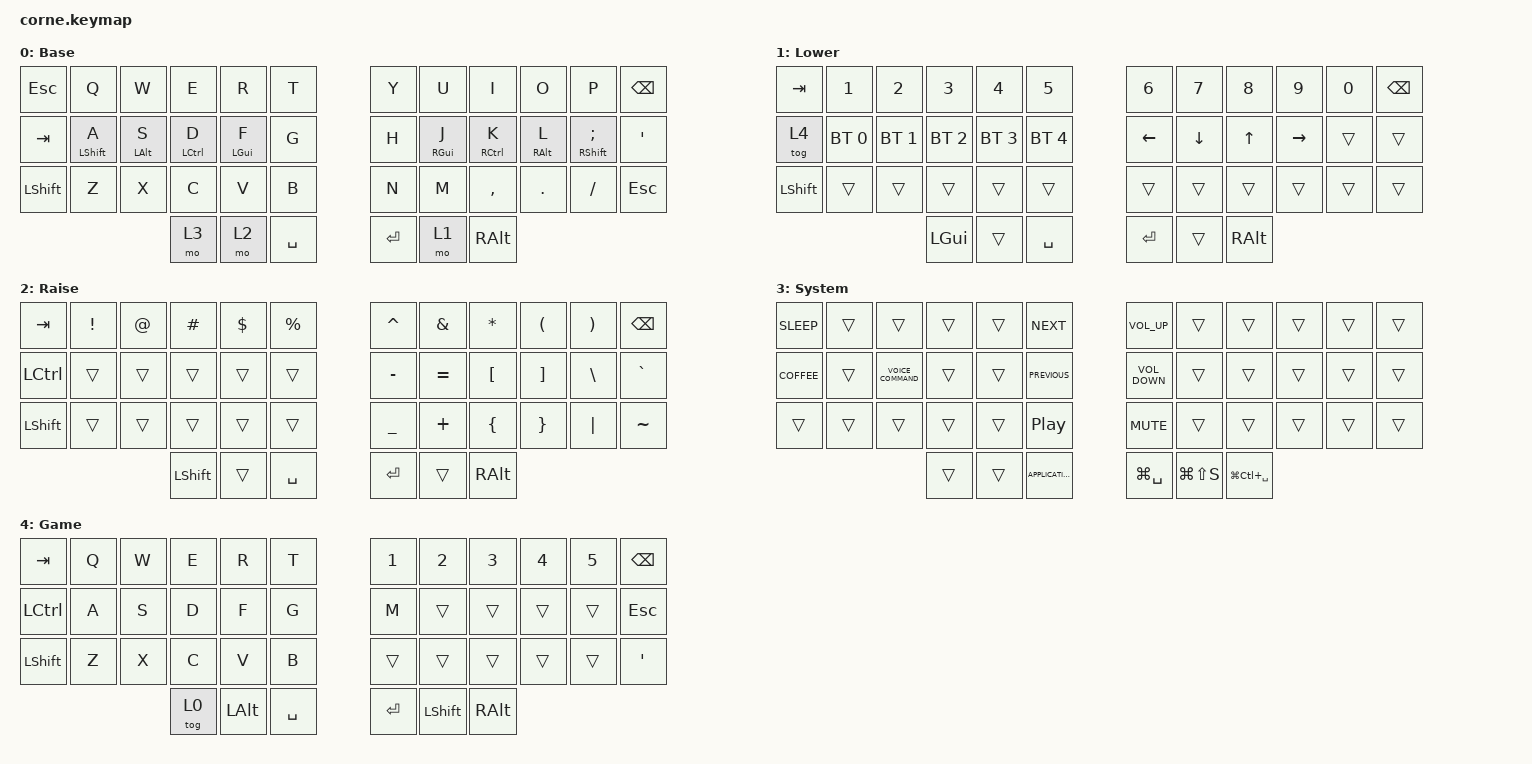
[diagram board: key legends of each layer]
/*
 * Copyright (c) 2020 The ZMK Contributors
 *
 * SPDX-License-Identifier: MIT
 */

#include <behaviors.dtsi>
#include <dt-bindings/zmk/bt.h>
#include <dt-bindings/zmk/keys.h>

/ {
    behaviors {
        hml: homewrow_mods_left {
            compatible = "zmk,behavior-hold-tap";
            label = "HOMEROW_MODS_LEFT_HAND";
            bindings = <&kp>, <&kp>;

            #binding-cells = <2>;
            tapping-term-ms = <200>;
            hold-trigger-key-positions = <6 7 8 9 10 11 18 19 20 21 22 23 30 31 32 33 34 35 39 40 41>;
        };

        hmr: homewrow_mods_right {
            compatible = "zmk,behavior-hold-tap";
            label = "HOMEROW_MODS_RIGHT_HAND";
            bindings = <&kp>, <&kp>;

            #binding-cells = <2>;
            tapping-term-ms = <200>;
            hold-trigger-key-positions = <0 1 2 3 4 5 12 13 14 15 16 17 24 25 26 27 28 29 36 37 38>;
        };
    };

    keymap {
        compatible = "zmk,keymap";

        default_layer {
            // -----------------------------------------------------------------------------------------
            // |  TAB |  Q  |  W  |  E  |  R  |  T  |   |  Y  |  U   |  I  |  O  |  P  | BSPC |
            // | CTRL |  A  |  S  |  D  |  F  |  G  |   |  H  |  J   |  K  |  L  |  ;  |  '   |
            // | SHFT |  Z  |  X  |  C  |  V  |  B  |   |  N  |  M   |  ,  |  .  |  /  | ESC  |
            //                    | GUI | LWR | SPC |   | ENT | RSE  | ALT |

            bindings = <
&kp ESC    &kp Q              &kp W            &kp E                &kp R            &kp T        &kp Y    &kp U        &kp I                 &kp O             &kp P                  &kp BSPC
&kp TAB    &hml LEFT_SHIFT A  &hml LEFT_ALT S  &hml LEFT_CONTROL D  &hml LEFT_GUI F  &kp G        &kp H    &hmr RGUI J  &hmr RIGHT_CONTROL K  &hmr RIGHT_ALT L  &hmr RIGHT_SHIFT SEMI  &kp SQT
&kp LSHFT  &kp Z              &kp X            &kp C                &kp V            &kp B        &kp N    &kp M        &kp COMMA             &kp DOT           &kp FSLH               &kp ESC
                                               &mo 3                &mo 2            &kp SPACE    &kp RET  &mo 1        &kp RALT
            >;

            label = "Base";
        };

        lower_layer {
            // -----------------------------------------------------------------------------------------
            // |  TAB |  1  |  2  |  3  |  4  |  5  |   |  6  |  7  |  8  |  9  |  0  | BSPC |
            // | GAME | BT1 | BT2 | BT3 | BT4 | BT5 |   | LFT | DWN |  UP | RGT |     |      |
            // | SHFT |     |     |     |     |     |   |     |     |     |     |     |      |
            //                    | GUI |     | SPC |   | ENT |     | ALT |

            bindings = <
&kp TAB     &kp N1        &kp N2        &kp N3        &kp N4        &kp N5          &kp N6    &kp N7    &kp N8    &kp N9     &kp N0  &kp BSPC
&tog 4      &bt BT_SEL 0  &bt BT_SEL 1  &bt BT_SEL 2  &bt BT_SEL 3  &bt BT_SEL 4    &kp LEFT  &kp DOWN  &kp UP    &kp RIGHT  &trans  &trans
&kp LSHFT   &trans        &trans        &trans        &trans        &trans          &trans    &trans    &trans    &trans     &trans  &trans
                                        &kp LGUI      &trans        &kp SPACE       &kp RET   &trans    &kp RALT
            >;

            label = "Lower";
        };

        raise_layer {
            // -----------------------------------------------------------------------------------------
            // |  TAB |  !  |  @  |  #  |  $  |  %  |   |  ^  |  &  |  *  |  (  |  )  | BSPC |
            // | CTRL |     |     |     |     |     |   |  -  |  =  |  [  |  ]  |  \  |  `   |
            // | SHFT |     |     |     |     |     |   |  _  |  +  |  {  |  }  | "|" |  ~   |
            //                    | GUI |     | SPC |   | ENT |     | ALT |

            bindings = <
&kp TAB    &kp EXCL  &kp AT  &kp HASH        &kp DLLR  &kp PRCNT    &kp CARET  &kp AMPS   &kp ASTRK  &kp LPAR  &kp RPAR  &kp BSPC
&kp LCTRL  &trans    &trans  &trans          &trans    &trans       &kp MINUS  &kp EQUAL  &kp LBKT   &kp RBKT  &kp BSLH  &kp GRAVE
&kp LSHFT  &trans    &trans  &trans          &trans    &trans       &kp UNDER  &kp PLUS   &kp LBRC   &kp RBRC  &kp PIPE  &kp TILDE
                             &kp LEFT_SHIFT  &trans    &kp SPACE    &kp RET    &trans     &kp RALT
            >;

            label = "Raise";
        };

        system_layer {
            bindings = <
&kp K_SLEEP   &trans  &trans               &trans  &trans  &kp C_NEXT           &kp C_VOLUME_UP    &trans         &trans             &trans  &trans  &trans
&kp K_COFFEE  &trans  &kp C_VOICE_COMMAND  &trans  &trans  &kp C_PREVIOUS       &kp C_VOLUME_DOWN  &trans         &trans             &trans  &trans  &trans
&trans        &trans  &trans               &trans  &trans  &kp C_PLAY_PAUSE     &kp K_MUTE         &trans         &trans             &trans  &trans  &trans
                                           &trans  &trans  &kp K_APPLICATION    &kp LG(SPACE)      &kp LG(LS(S))  &kp LG(LC(SPACE))
            >;

            label = "System";
        };

        game_layer {
            // -----------------------------------------------------------------------------------------
            // | TAB  |  Q  |  W  |  E  |  R  |  T  |   |  1  |  2  |  3  |  4  |  5  | BSPC |
            // | LCTL |  A  |  S  |  D  |  F  |  G  |   |  M  |     |     |     |     | ESC  |
            // | LSFT |  Z  |  X  |  C  |  V  |  B  |   |     |     |     |     |     |  '   |
            //                    | EXIT | LALT | SPC |   | ENT | LSFT | RALT |
            //
            // PUBG gaming layer - no hold-tap modifiers!
            //   WASD = plain keys, LCTL = crouch, LSFT = sprint, LALT = walk
            //   Numbers moved to right side for weapon slots
            //   M = Map (right home row, index finger)
            //   Enter: Lower layer + top-left key (GAME toggle)
            //   Exit:  outer-left thumb (EXIT toggle back to Base)

            bindings = <
&kp TAB     &kp Q     &kp W     &kp E     &kp R     &kp T           &kp N1    &kp N2    &kp N3    &kp N4     &kp N5    &kp BSPC
&kp LCTRL   &kp A     &kp S     &kp D     &kp F     &kp G           &kp M     &trans    &trans    &trans     &trans    &kp ESC
&kp LSHFT   &kp Z     &kp X     &kp C     &kp V     &kp B           &trans    &trans    &trans    &trans     &trans    &kp SQT
                                           &tog 0    &kp LALT        &kp SPACE &kp RET   &kp LSHFT &kp RALT
            >;

            label = "Game";
        };
    };
};
